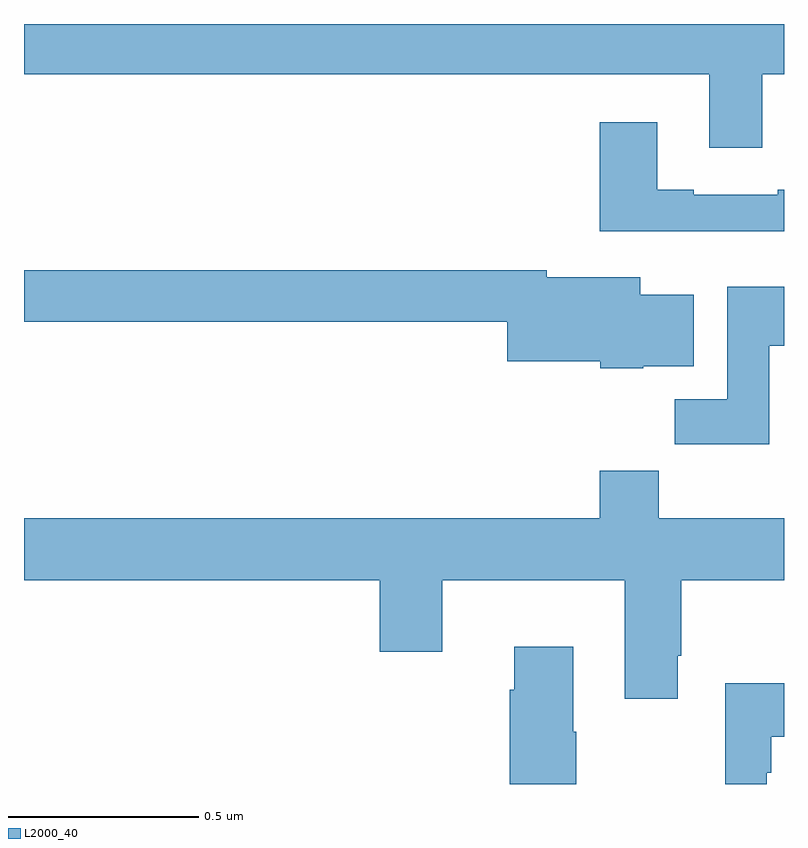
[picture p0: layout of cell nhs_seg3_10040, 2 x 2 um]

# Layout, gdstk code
import gdstk
lib = gdstk.Library(unit=1e-6, precision=1e-09)
def P(c, l, *ps):  # polygons
    for p in ps: c.add(gdstk.Polygon(p, *l))
L2000_40 = (2000, 40)

nhs_seg3_10040 = lib.new_cell('nhs_seg3_10040')
P(nhs_seg3_10040, L2000_40, [(237.943,682.268),(238,682.268),(238,682.4),(236,682.4),(236,682.268),(237.803,682.268),(237.803,682.074),(237.943,682.074)],
  [(238,681.964),(237.983,681.964),(237.983,681.951),(237.763,681.951),(237.763,681.964),(237.667,681.964),(237.667,682.141),(237.515,682.141),(237.515,681.854),(238,681.854)],
  [(237.63,681.5),(237.763,681.5),(237.763,681.688),(237.622,681.688),(237.622,681.733),(237.376,681.733),(237.376,681.752),(236,681.752),(236,681.616),(237.272,681.616),(237.272,681.512),(237.516,681.512),(237.516,681.494),(237.63,681.494)],
  [(237.961,681.553),(238,681.553),(238,681.709),(237.851,681.709),(237.851,681.412),(237.712,681.412),(237.712,681.294),(237.961,681.294)],
  [(237.721,680.737),(237.729,680.737),(237.729,680.936),(238,680.936),(238,681.1),(237.671,681.1),(237.671,681.224),(237.515,681.224),(237.515,681.1),(236,681.1),(236,680.936),(236.936,680.936),(236.936,680.748),(237.1,680.748),(237.1,680.936),(237.581,680.936),(237.581,680.625),(237.721,680.625)],
  [(237.453,680.537),(237.445,680.537),(237.445,680.761),(237.29,680.761),(237.29,680.648),(237.278,680.648),(237.278,680.4),(237.453,680.4)],
  [(237.954,680.429),(237.967,680.429),(237.967,680.525),(238,680.525),(238,680.665),(237.846,680.665),(237.846,680.4),(237.954,680.4)])

lib.write_gds('nhs_seg3_10040.gds')
